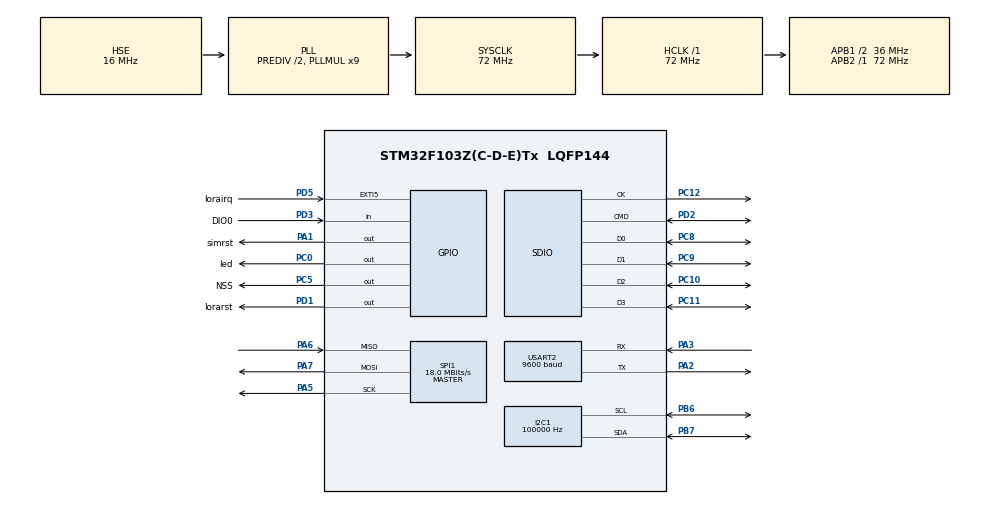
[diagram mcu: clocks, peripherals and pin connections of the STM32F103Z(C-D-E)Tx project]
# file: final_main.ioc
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Dma.Request0=USART2_RX
Dma.Request1=USART2_TX
Dma.Request2=SDIO
Dma.Request3=SPI1_RX
Dma.Request4=SPI1_TX
Dma.SDIO.2.Direction=DMA_PERIPH_TO_MEMORY
Dma.SDIO.2.Instance=DMA2_Channel4
Dma.SDIO.2.MemDataAlignment=DMA_MDATAALIGN_WORD
Dma.SDIO.2.MemInc=DMA_MINC_ENABLE
Dma.SDIO.2.Mode=DMA_NORMAL
Dma.SDIO.2.PeriphDataAlignment=DMA_PDATAALIGN_WORD
Dma.SDIO.2.PeriphInc=DMA_PINC_DISABLE
Dma.SDIO.2.Priority=DMA_PRIORITY_HIGH
Dma.SPI1_RX.3.Direction=DMA_PERIPH_TO_MEMORY
Dma.SPI1_RX.3.Instance=DMA1_Channel2
Dma.SPI1_RX.3.MemDataAlignment=DMA_MDATAALIGN_BYTE
Dma.SPI1_RX.3.MemInc=DMA_MINC_ENABLE
Dma.SPI1_RX.3.Mode=DMA_NORMAL
Dma.SPI1_RX.3.PeriphDataAlignment=DMA_PDATAALIGN_BYTE
Dma.SPI1_RX.3.PeriphInc=DMA_PINC_DISABLE
Dma.SPI1_RX.3.Priority=DMA_PRIORITY_VERY_HIGH
Dma.SPI1_TX.4.Direction=DMA_MEMORY_TO_PERIPH
Dma.SPI1_TX.4.Instance=DMA1_Channel3
Dma.SPI1_TX.4.MemDataAlignment=DMA_MDATAALIGN_BYTE
Dma.SPI1_TX.4.MemInc=DMA_MINC_ENABLE
Dma.SPI1_TX.4.Mode=DMA_NORMAL
Dma.SPI1_TX.4.PeriphDataAlignment=DMA_PDATAALIGN_BYTE
Dma.SPI1_TX.4.PeriphInc=DMA_PINC_DISABLE
Dma.SPI1_TX.4.Priority=DMA_PRIORITY_VERY_HIGH
Dma.USART2_RX.0.Direction=DMA_PERIPH_TO_MEMORY
Dma.USART2_RX.0.Instance=DMA1_Channel6
Dma.USART2_RX.0.MemDataAlignment=DMA_MDATAALIGN_BYTE
Dma.USART2_RX.0.MemInc=DMA_MINC_ENABLE
Dma.USART2_RX.0.Mode=DMA_NORMAL
Dma.USART2_RX.0.PeriphDataAlignment=DMA_PDATAALIGN_BYTE
Dma.USART2_RX.0.PeriphInc=DMA_PINC_DISABLE
Dma.USART2_RX.0.Priority=DMA_PRIORITY_VERY_HIGH
Dma.USART2_TX.1.Direction=DMA_MEMORY_TO_PERIPH
Dma.USART2_TX.1.Instance=DMA1_Channel7
Dma.USART2_TX.1.MemDataAlignment=DMA_MDATAALIGN_BYTE
Dma.USART2_TX.1.MemInc=DMA_MINC_ENABLE
Dma.USART2_TX.1.Mode=DMA_NORMAL
Dma.USART2_TX.1.PeriphDataAlignment=DMA_PDATAALIGN_BYTE
Dma.USART2_TX.1.PeriphInc=DMA_PINC_DISABLE
Dma.USART2_TX.1.Priority=DMA_PRIORITY_VERY_HIGH
FATFS._FS_TIMEOUT=100000
FATFS._MAX_SS=4096
I2C1.ClockSpeed=100000
IWDG.Prescaler=IWDG_PRESCALER_256
Mcu.Family=STM32F1
Mcu.Name=STM32F103Z(C-D-E)Tx
Mcu.Package=LQFP144
NVIC.DMA1_Channel2_IRQn=true\:0\:0\:false\:false\:true\:false\:true
NVIC.DMA1_Channel3_IRQn=true\:0\:0\:false\:false\:true\:false\:true
NVIC.DMA1_Channel6_IRQn=true\:0\:0\:false\:false\:true\:false\:true
NVIC.DMA1_Channel7_IRQn=true\:0\:0\:false\:false\:true\:false\:true
NVIC.DMA2_Channel4_5_IRQn=true\:0\:0\:false\:false\:true\:false\:true
NVIC.EXTI9_5_IRQn=true\:0\:0\:false\:false\:true\:true\:true
NVIC.PriorityGroup=NVIC_PRIORITYGROUP_4
NVIC.SDIO_IRQn=true\:0\:0\:false\:false\:true\:true\:true
NVIC.SPI1_IRQn=true\:0\:0\:false\:false\:true\:true\:true
NVIC.USART2_IRQn=true\:0\:0\:false\:false\:true\:true\:true
OSC_IN.Mode=HSE-External-Oscillator
OSC_IN.Signal=RCC_OSC_IN
OSC_OUT.Mode=HSE-External-Oscillator
OSC_OUT.Signal=RCC_OSC_OUT
PA1.GPIO_Label=simrst
PA1.GPIO_PuPd=GPIO_PULLDOWN
PA1.GPIO_Speed=GPIO_SPEED_FREQ_HIGH
PA1.Signal=GPIO_Output
PA13.Mode=JTAG_5_pins
PA13.Signal=SYS_JTMS-SWDIO
PA14.Mode=JTAG_5_pins
PA14.Signal=SYS_JTCK-SWCLK
PA15.Mode=JTAG_5_pins
PA15.Signal=SYS_JTDI
PA2.Mode=Asynchronous
PA2.Signal=USART2_TX
PA3.Mode=Asynchronous
PA3.Signal=USART2_RX
PA5.Mode=Full_Duplex_Master
PA5.Signal=SPI1_SCK
PA6.Mode=Full_Duplex_Master
PA6.Signal=SPI1_MISO
PA7.Mode=Full_Duplex_Master
PA7.Signal=SPI1_MOSI
PB3.Mode=JTAG_5_pins
PB3.Signal=SYS_JTDO-TRACESWO
PB4.Mode=JTAG_5_pins
PB4.Signal=SYS_NJTRST
PB6.Mode=I2C
PB6.Signal=I2C1_SCL
PB7.Mode=I2C
PB7.Signal=I2C1_SDA
PC0.GPIO_Label=led
PC0.GPIO_Speed=GPIO_SPEED_FREQ_HIGH
PC0.Signal=GPIO_Output
PC10.Mode=SD_4_bits_Wide_bus
PC10.Signal=SDIO_D2
PC11.Mode=SD_4_bits_Wide_bus
PC11.Signal=SDIO_D3
PC12.Mode=SD_4_bits_Wide_bus
PC12.Signal=SDIO_CK
PC14-OSC32_IN.Mode=LSE-External-Oscillator
PC14-OSC32_IN.Signal=RCC_OSC32_IN
PC15-OSC32_OUT.Mode=LSE-External-Oscillator
PC15-OSC32_OUT.Signal=RCC_OSC32_OUT
PC5.GPIO_Label=NSS
PC5.GPIO_PuPd=GPIO_PULLUP
PC5.GPIO_Speed=GPIO_SPEED_FREQ_HIGH
PC5.Signal=GPIO_Output
PC8.Mode=SD_4_bits_Wide_bus
PC8.Signal=SDIO_D0
PC9.Mode=SD_4_bits_Wide_bus
PC9.Signal=SDIO_D1
PD1.GPIO_Label=lorarst
PD1.GPIO_PuPd=GPIO_PULLDOWN
PD1.GPIO_Speed=GPIO_SPEED_FREQ_HIGH
PD1.Signal=GPIO_Output
PD2.Mode=SD_4_bits_Wide_bus
PD2.Signal=SDIO_CMD
PD3.GPIO_Label=DIO0
PD3.GPIO_PuPd=GPIO_PULLDOWN
PD3.Signal=GPIO_Input
PD5.GPIO_Label=lorairq
PD5.GPIO_PuPd=GPIO_PULLDOWN
PD5.Signal=GPXTI5
ProjectManager.HeapSize=0xFF0
ProjectManager.StackSize=0xFF0
ProjectManager.TargetToolchain=MDK-ARM V5.32
RCC.AHBFreq_Value=72000000
RCC.APB1CLKDivider=RCC_HCLK_DIV2
RCC.APB1Freq_Value=36000000
RCC.APB1TimFreq_Value=72000000
RCC.APB2Freq_Value=72000000
RCC.APB2TimFreq_Value=72000000
RCC.EnbaleCSS=true
RCC.HCLKFreq_Value=72000000
RCC.HSEDivPLL=RCC_HSE_PREDIV_DIV2
RCC.HSE_VALUE=16000000
RCC.PLLMUL=RCC_PLL_MUL9
RCC.PLLSourceVirtual=RCC_PLLSOURCE_HSE
RCC.RTCClockSelection=RCC_RTCCLKSOURCE_HSE_DIV128
RCC.SYSCLKFreq_VALUE=72000000
RCC.SYSCLKSource=RCC_SYSCLKSOURCE_PLLCLK
RCC.USBFreq_Value=72000000
RTC.Format=RTC_FORMAT_BIN
SDIO.ClockDiv=7
SPI1.BaudRatePrescaler=SPI_BAUDRATEPRESCALER_4
SPI1.CalculateBaudRate=18.0 MBits/s
SPI1.Direction=SPI_DIRECTION_2LINES
SPI1.Mode=SPI_MODE_MASTER
SPI1.VirtualType=VM_MASTER
USART2.BaudRate=9600
USART2.VirtualMode=VM_ASYNC
VP_FATFS_VS_SDIO.Mode=SDIO
VP_IWDG_VS_IWDG.Mode=IWDG_Activate
VP_RTC_VS_RTC_Activate.Mode=RTC_Enabled
VP_RTC_VS_RTC_Calendar.Mode=RTC_Calendar
board=custom

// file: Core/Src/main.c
/* USER CODE BEGIN Header */
/**
  ******************************************************************************
  * @file           : main.c
  * @brief          : Main program body
  ******************************************************************************
  * @attention
  *
  * <h2><center>&copy; Copyright (c) 2021 STMicroelectronics.
  * All rights reserved.</center></h2>
  *
  * This software component is licensed by ST under Ultimate Liberty license
  * SLA0044, the "License"; You may not use this file except in compliance with
  * the License. You may obtain a copy of the License at:
  *                             www.st.com/SLA0044
  *
  ******************************************************************************
  */
/* USER CODE END Header */
#include "main.h"
#include "fatfs.h"

/* USER CODE BEGIN Includes */
#include <String.h>
#include <Stdio.h>
#include <Stdbool.h>
#include <Stdlib.h>

#include "lcd.h"
#include "sim.h"
#include "LoRa.h"
#include "struct.h"
#include "List.h"
/* USER CODE END Includes */

/* USER CODE BEGIN PM */
FATFS fs;  // file system
FIL fil1; // File
FIL fil2; // File
FRESULT fresult;  // result
UINT br;

LoRa myLoRa;	//lora object

RTC_TimeTypeDef time;	//RTC
RTC_DateTypeDef date;

static dict_t **gDict;
/* USER CODE END PM */

I2C_HandleTypeDef hi2c1;

IWDG_HandleTypeDef hiwdg;

RTC_HandleTypeDef hrtc;

SD_HandleTypeDef hsd;
DMA_HandleTypeDef hdma_sdio;

SPI_HandleTypeDef hspi1;
DMA_HandleTypeDef hdma_spi1_rx;
DMA_HandleTypeDef hdma_spi1_tx;

UART_HandleTypeDef huart2;
DMA_HandleTypeDef hdma_usart2_rx;
DMA_HandleTypeDef hdma_usart2_tx;

/* USER CODE BEGIN PV */
uint8_t 				gRxBuf[RxBuf_SIZE];			//UART Handle
uint8_t 				gMainBuf[MainBuf_SIZE];
uint8_t 				gTxBuf[TxBuf_SIZE];
uint32_t 				gOldPos;
uint32_t 				gNewPos;

static bool 		gSimFlag	=	false;	//Sim Start Flags
static bool 		gLoraRecFlag	=	false;	//LoRa Recieved Flags

static uint8_t 	gSec;	//Real Time
static uint8_t 	gMinu;
static uint8_t 	gHour;
static uint8_t 	gDay;
static uint8_t 	gMon;
static uint8_t 	gYear;

static char 	gLoraReadStr[200];
/* USER CODE END PV */

void SystemClock_Config(void);
static void MX_GPIO_Init(void);
static void MX_DMA_Init(void);
static void MX_IWDG_Init(void);
static void MX_SPI1_Init(void);
static void MX_USART2_UART_Init(void);
static void MX_SDIO_SD_Init(void);
static void MX_RTC_Init(void);
static void MX_I2C1_Init(void);

/* USER CODE BEGIN 0 */
FRESULT mount_SD (void)
{
	return f_mount(&fs, "a", 1);
}

FRESULT unmount_SD (void)
{
	return f_mount(NULL, "a", 1);
}

FRESULT open_File(char* name,int i)
{
	if(i	==	1)
	{
		return f_open(&fil1,	name,	FA_WRITE	|	FA_READ	|	FA_OPEN_EXISTING);
	}
	else
	{
		return f_open(&fil2,	name,	FA_WRITE	|	FA_READ	|	FA_OPEN_EXISTING);
	}
}

FRESULT close_File(int i)
{
	if(i	==	1)
	{
		return f_close(&fil1);
	}
	else
	{
		return f_close(&fil2);
	}
}

FRESULT read_File(void* data,int j,int i)
{
	if(i	==	1)
	{
		return f_read(&fil1, data, j,&br);
	}
	else
	{
		return f_read(&fil2, data, j,&br);
	}
}

FRESULT create_File(char* name,int i)
{
	if(i==1)
	{
		return f_open(&fil1, name,	FA_CREATE_ALWAYS	|	FA_WRITE	|	FA_READ);
	}
	else
	{
		return f_open(&fil2, name,	FA_CREATE_ALWAYS	|	FA_WRITE	|	FA_READ);
	}
}

void gets_File(void* buff,int i)
{
	if(i	==	1)
	{
		f_gets((char*)buff,	100,	&fil1);
		return;
	}
	else
	{
		f_gets((char*)buff,	100,	&fil2);
		return;
	}
}

FRESULT write_File (void *data,int j,int i)
{
	if(i	==	1)
	{
		fresult = f_write(&fil1, data, j,	&br);
		if(fresult	==	FR_OK)
		{
			return f_sync(&fil1);
		}
	}
	else
	{
		fresult = f_write(&fil2, data, j,	&br);
		if(fresult	==	FR_OK)
		{
			return f_sync(&fil2);
		}
	}
	return FR_DISK_ERR;
}

FRESULT set_point_File(DWORD ofs,int i)
{
	if(i	==	1)
	{
		if((f_lseek(&fil1,ofs))	==	FR_OK)
		{
			return	f_sync(&fil1);
		}
	}
	else
	{
		if((f_lseek(&fil2,ofs))	==	FR_OK)
		{
			return	f_sync(&fil2);
		}
	}
	return FR_DISK_ERR;
}

int get_point_File(int i)
{
	if(i	==	1)
	{
		return (&fil1)->fptr;
	}
	else
	{
		return (&fil2)->fptr;
	}
}

FRESULT truncate_File(DWORD ofs,int i)
{
	if(i	==	1)
	{
		return 	f_truncate(&fil1);
	}
	else
	{
		return	f_truncate(&fil2);
	}
}
int get_eof_File(int i)
{
	if(i	==	1)
	{
		int js	=	0;
		while((f_eof(&fil1))	==	0)
		{
			set_point_File((++js),	1);
		}
		return js;
	}
	else
	{
		int js=0;
		while((f_eof(&fil2))	==	0)
		{
			set_point_File((++js),2);
		}
		return js;
	}
}

void ntptotime(uint32_t epoch)
{
	uint16_t	ntp_hour;
	uint16_t 	ntp_minute;
	uint16_t 	ntp_second;
	uint16_t 	ntp_date;
	uint16_t 	ntp_month;
	uint16_t 	ntp_year;

	unsigned char monthDays[12]={31,28,31,30,31,30,31,31,30,31,30,31};
	//Thu=4, Fri=5, Sat=6, Sun=0, Mon=1, Tue=2, Wed=3
	unsigned char	leap_days;
	unsigned short temp_days;
	unsigned int days_since_epoch, day_of_year;
   //---------------------------- Input and Calculations -------------------------------------
	leap_days	=	0;
	// Add or substract time zone here.
	epoch				+=	16200 ; //GMT +5:30 = +16,200 seconds
	epoch				-=	2208988800;
	ntp_second	 = 	epoch	%	60;
	epoch 			/= 	60;
	ntp_minute 	 = 	epoch	%	60;
	epoch 			/= 	60;
	ntp_hour 		 = 	epoch	%	24;
	epoch 			/= 	24;

	days_since_epoch = epoch;      //number of days since epoch

	ntp_year = 1970	+	(days_since_epoch	/	365); // ball parking year, may not be accurate!

	int i;
	for (i	=	1972; i	<	ntp_year; i	+=	4)      // Calculating number of leap days since epoch/1970
	{
		 if((((i%4)	==	0) && ((i%100)	!=	0)) || ((i%400)	==	0))
		 {
			 leap_days++;
		 }
	}

	ntp_year 		= 1970	+	((days_since_epoch - leap_days)	/	365); // Calculating accurate current year by (days_since_epoch - extra leap days)
	day_of_year = ((days_since_epoch - leap_days)	%	365)	+	1;

	if((((ntp_year%4)	==	0) && ((ntp_year%100)	!=	0)) || ((ntp_year%400)	==	0))
	{
		monthDays[1]	=	29;     //February = 29 days for leap years
	}
	else
	{
		monthDays[1]	=	28; 		//February = 28 days for non-leap years
	}

	temp_days	=	0;

	for (ntp_month=0 ; ntp_month <= 11 ; ntp_month++) //calculating current Month
	{
		 if (day_of_year <= temp_days)
		 {
			 break;
		 }

		 temp_days = temp_days + monthDays[ntp_month];
	}

	temp_days = temp_days - monthDays[ntp_month-1]; //calculating current Date
	ntp_date = day_of_year - temp_days;

	if(ntp_month	>=	9)
	{
		if(temp_days	>=	22)
		{
			ntp_hour--;
		}
	}
	else if(ntp_month	<=	3)
	{
		if(temp_days	<	22)
		{
			ntp_hour--;
		}
	}
	time.Seconds	=	ntp_second;
	time.Minutes	=	ntp_minute;
	time.Hours		=	ntp_hour;
	date.Month		=	ntp_month;
	date.Date			=	ntp_date;
	date.Year			=	ntp_year	-	2000;

	HAL_RTC_SetTime(&hrtc,	&time,	RTC_FORMAT_BIN);
	HAL_RTC_SetDate(&hrtc,	&date,	RTC_FORMAT_BIN);
	//uartflush();
}

void HAL_UARTEx_RxEventCallback(UART_HandleTypeDef *huart, uint16_t Size)
{
	if (huart->Instance == USART2)
	{
		gOldPos = gNewPos;  // Update the last position before copying new data

		/* If the data in large and it is about to exceed the buffer size, we have to route it to the start of the buffer
		 * This is to maintain the circular buffer
		 * The old data in the main buffer will be overlapped
		 */
		if (gOldPos+Size > MainBuf_SIZE)  // If the current position + new data size is greater than the main buffer
		{
			uint16_t datatocopy = MainBuf_SIZE	-	gOldPos;  // find out how much space is left in the main buffer
			memcpy ((uint8_t *)gMainBuf+gOldPos, gRxBuf, datatocopy);  // copy data in that remaining space

			gOldPos = 0;  // point to the start of the buffer
			memcpy ((uint8_t *)gMainBuf, (uint8_t *)gRxBuf+datatocopy, (Size-datatocopy));  // copy the remaining data
			gNewPos = (Size-datatocopy);  // update the position
		}

		/* if the current position + new data size is less than the main buffer
		 * we will simply copy the data into the buffer and update the position
		 */
		else
		{
			memcpy (((uint8_t *)gMainBuf+gOldPos), gRxBuf, Size);
			gNewPos = Size	+	gOldPos;
		}

		/* start the DMA again */
		HAL_UARTEx_ReceiveToIdle_DMA(&huart2, (uint8_t *) gRxBuf,	RxBuf_SIZE);
		__HAL_DMA_DISABLE_IT(&hdma_usart2_rx, DMA_IT_HT);
	}
}
int ind(char* a1,	char* a2)
{
	char *found;

	found	=	strstr(a1,	a2);

	if(found)
	{
		return (int)(found-a1);
	}
	else
	{
		return -1;
	}
 }
void LoraInit()
{
	myLoRa = newLoRa();

	myLoRa.hSPIx                 = &hspi1;
	myLoRa.CS_port               = NSS_GPIO_Port;
	myLoRa.CS_pin                = NSS_Pin;
	myLoRa.reset_port            = lorarst_GPIO_Port;
	myLoRa.reset_pin             = lorarst_Pin;
	myLoRa.DIO0_port						 = DIO0_GPIO_Port;
	myLoRa.DIO0_pin							 = DIO0_Pin;

	myLoRa.frequency             = 433;							  // default = 433 MHz
	myLoRa.spredingFactor        = SF_7;							// default = SF_7
	myLoRa.bandWidth			       = BW_125KHz;				  // default = BW_125KHz
	myLoRa.crcRate				       = CR_4_5;						// default = CR_4_5
	myLoRa.power					       = POWER_20db;				// default = 20db
	myLoRa.overCurrentProtection = 100; 							// default = 100 mA
	myLoRa.preamble				       = 8;		  					// default = 8;

	while(1)
	{
		LoRa_reset(&myLoRa);
		int test	=	LoRa_init(&myLoRa);
		if(test	==	200)
		{
			uart_sendstring_pc("LORA OK\r\n");
			HAL_IWDG_Refresh(&hiwdg);
			break;
		}
		if(test	==	404)
		{
			uart_sendstring_pc("LORA NOT FOUND\r\n");
			HAL_IWDG_Refresh(&hiwdg);
			HAL_Delay(500);
		}
		if(test	==	503)
		{
			uart_sendstring_pc("LORA UNAVAILABLE\r\n");
			HAL_IWDG_Refresh(&hiwdg);
			HAL_Delay(500);
		}
	}
	LoRa_startReceiving(&myLoRa);
}
bool NTPInit(void)
{
	uint8_t Tried	=	0;
	Tried++;

	for(int i = Tried ; i<6 ; i++)
	{
		uartflush();

		if(i	==	0)
		{
			if((srevercon_udp("0.ir.pool.ntp.org","123"))	==	1)
			{
				break;
			}
		}
		if(i	==	3)
		{
			if((srevercon_udp("0.de.pool.ntp.org","123"))	==	1)
			{
				break;
			}
		}
		if(i	==	1)
		{
			if((srevercon_udp("1.ir.pool.ntp.org","123"))	==	1)
			{
				break;
			}
		}
		if(i	==	4)
		{
			if((srevercon_udp("1.de.pool.ntp.org","123"))	==	1)
			{
				break;
			}
		}
		if(i	==	2)
		{
			if((srevercon_udp("2.ir.pool.ntp.org","123"))	==	1)
			{
				break;
			}
		}
		if(i	==	5)
		{
			if((srevercon_udp("2.de.pool.ntp.org","123"))	==	1)
			{
				break;
			}
		}
	}

	uartflush();

	for(int i	=	0;	i	<	10;	i++)
	{
		uint8_t ntpreq[49];

		ntpreq[0]		=	0x4B;
		ntpreq[48]	=	0;

		for(int i	=	1;	i	<	48;	i++)
		{
			ntpreq[i]	=	0x01;
		}
		int	y	=	simsend(ntpreq,	48);
		if(y	==	1)
		{
			break;
		}
	}

	uint64_t timerReg;

	timerReg = HAL_GetTick();

	while((waitfor("SEND OK\r\n"))	!=	1)
	{
		if((HAL_GetTick()	-	timerReg)	>	5000)
		{
			uartflush();
			return false;
		}
	}
	uartflush();
	HAL_Delay(1000);
	timerReg = HAL_GetTick();
	while(1)
	{
		if((HAL_GetTick()	-	timerReg)	>	3000)
		{
			uartflush();
			return false;
		}
		if(gMainBuf[47]	!=	0)
		{
			uint8_t 	ntpreply[4];
			uint32_t 	epo; //RTC & NTP

			for(int i=0;	i<4;	i++)
			{
				ntpreply[i]	=	gMainBuf[i+40];
			}

			struct_unpack((char*)ntpreply,	"!i",	&epo);

			ntptotime(epo);

			HAL_RTC_GetTime(&hrtc,	&time,	RTC_FORMAT_BIN);
			HAL_RTC_GetDate(&hrtc,	&date,	RTC_FORMAT_BIN);

			gSec		=	time.Seconds;
			gMinu		=	time.Minutes;
			gHour		=	time.Hours;
			gDay		=	date.Date;
			gMon		=	date.Month;
			gYear		=	date.Year;

			break;
		}
	}
	if((gYear	==	21)	||	(gYear	==	22)	||	(gYear	==	23)	||	(gYear	==	24))
	{
		return true;
	}
	return false;
}
void HAL_GPIO_EXTI_Callback(uint16_t GPIO_Pin)
{
	if(GPIO_Pin	==	lorairq_Pin)
	{
		gLoraRecFlag	=	true;
	}
}
void MainInit(void)
{
	HAL_IWDG_Refresh(&hiwdg);

	lcd_init();
	HAL_Delay(100);
	lcd_init();
	HAL_Delay(100);
	lcd_clear();
	HAL_Delay(100);
	lcd_send_string("    Main APP    ");
	HAL_Delay(1000);

	uart_sendstring_pc("MAIN PROG\n");

	HAL_IWDG_Refresh(&hiwdg);

	if(mount_SD()!=	FR_OK)
	{
		lcd_send_string("No SD Card Found");
		HAL_Delay(2000);
		lcd_clear();
	}

	lcd_send_string("SD Card Found");
	HAL_Delay(2000);
	lcd_clear();

	while((open_File("slaveid.txt",	1))	!=	FR_OK)
	{
		lcd_put_cur(0, 0);
		lcd_send_string(" slaveid.txt NF ");
		HAL_Delay(100);
	}

	lcd_put_cur(0, 0);
	lcd_send_string("slaveid.tx Found");
	HAL_Delay(1000);

	char conString[100];
	char slaveId	[3];

	lcd_put_cur(0, 0);
	lcd_send_string("Slave Id Reading");
	HAL_Delay(1000);

	while(1)
	{
		gets_File(conString,	1);

		if((strlen(conString))	==	0)
		{
			break;
		}
		slaveId[0]	=	conString[0];
		slaveId[1]	=	conString[1];
		slaveId[2]	=	conString[2];
		dictAddItem(gDict,	slaveId,	1);
	}

	close_File(1);

	lcd_put_cur(0, 0);
	lcd_send_string("  Reading Done  ");
	HAL_Delay(1000);

	lcd_clear();
	HAL_Delay(100);

	lcd_put_cur(0, 0);
	lcd_send_string("  Sim Starting  ");

	HAL_UARTEx_ReceiveToIdle_DMA(&huart2, (uint8_t *) gRxBuf, RxBuf_SIZE);
	__HAL_DMA_DISABLE_IT(&hdma_usart2_rx, DMA_IT_HT);

	for(int i	=	0;	i	<	1;	i++)
	{
		if((simstart())	==	1)
		{
			gSimFlag	=	true;
			break;
		}
		HAL_Delay(1500);
		lcd_put_cur(1, 0);
		lcd_send_string("     Again      ");
		HAL_Delay(1000);
	}

	if(gSimFlag	==	true)
	{
		lcd_put_cur(1, 0);
		lcd_send_string("  Sim Started!  ");
		HAL_Delay(1500);

		lcd_clear();
		lcd_put_cur(0, 0);
		lcd_send_string(" NTP RT Request ");

		int Try	=	2,	Tried	=	0;

		while((NTPInit())	!=	true)
		{
			if((Tried++)	>=	Try)
			{
				break;
			}

		lcd_put_cur(1, 0);
		lcd_send_string("     Again      ");
		HAL_Delay(1000);
		}
	}

	uartflush();

	LoraInit();

	LoRa_startReceiving(&myLoRa);

	HAL_RTC_GetTime(&hrtc,	&time,	RTC_FORMAT_BIN);
	HAL_RTC_GetDate(&hrtc,	&date,	RTC_FORMAT_BIN);

	gSec		=	time.Seconds;
	gMinu		=	time.Minutes;
	gHour		=	time.Hours;
	gDay		=	date.Date;
	gMon		=	date.Month;
	gYear		=	date.Year;

	char lcdtemp[16];
	sprintf(lcdtemp,	"20%02d - %02d - %02d  ",	gYear,	gMon,	gDay);
	lcd_put_cur(0, 0);
	lcd_send_string(lcdtemp);
	sprintf(lcdtemp,	"  %02d : %02d : %02d  ",	gHour,	gMinu,	gSec);
	lcd_put_cur(1, 0);
	lcd_send_string(lcdtemp);
	HAL_Delay(1500);
	lcd_clear();
	HAL_Delay(200);
}
/* USER CODE END 0 */

int main(void)
{

  /* MCU Configuration--------------------------------------------------------*/

  /* Reset of all peripherals, Initializes the Flash interface and the Systick. */
  HAL_Init();

  /* Configure the system clock */
  SystemClock_Config();

  /* Initialize all configured peripherals */
  MX_GPIO_Init();
  MX_DMA_Init();
  MX_IWDG_Init();
  MX_SPI1_Init();
  MX_USART2_UART_Init();
  MX_SDIO_SD_Init();
  MX_FATFS_Init();
  MX_RTC_Init();
  MX_I2C1_Init();
  /* USER CODE BEGIN 2 */
	gDict = dictAlloc();

	MainInit();
  /* USER CODE END 2 */

  /* Infinite loop */
  /* USER CODE BEGIN WHILE */
  while (1)
  {
		if(gLoraRecFlag	==	true)
		{
			LoRa_receive(&myLoRa,	(uint8_t*)gLoraReadStr,	200);

			gLoraRecFlag	=	false;

			char	loraRecTempSt[4];

			loraRecTempSt[0]	=	gLoraReadStr[0];
			loraRecTempSt[1]	=	gLoraReadStr[1];
			loraRecTempSt[2]	=	gLoraReadStr[2];
			loraRecTempSt[3]	=	0;

			char lcdtemp[16];
			sprintf(lcdtemp,	"    LoRa:%c%c%c    ",	loraRecTempSt[0],	loraRecTempSt[1],	loraRecTempSt[2]);
			lcd_clear();
			HAL_Delay(50);
			lcd_put_cur(0,0);
			lcd_send_string(lcdtemp);

			if((dictGetItem(*gDict, loraRecTempSt))	==	1)
			{
				lcd_put_cur(1,0);
				lcd_send_string(" Valid Slave Id ");
				HAL_GPIO_TogglePin(led_GPIO_Port,led_Pin);
				LoRa_transmit(&myLoRa,"Ok\n",3,100);
			}
			else
			{
				lcd_put_cur(1,0);
				lcd_send_string("Invalid Slave Id");
				LoRa_transmit(&myLoRa,loraRecTempSt,3,100);
			}
		}
		HAL_IWDG_Refresh(&hiwdg);
    /* USER CODE END WHILE */

  }
}

void SystemClock_Config(void)
{
  RCC_OscInitTypeDef RCC_OscInitStruct = {0};
  RCC_ClkInitTypeDef RCC_ClkInitStruct = {0};
  RCC_PeriphCLKInitTypeDef PeriphClkInit = {0};

  /** Initializes the RCC Oscillators according to the specified parameters
  * in the RCC_OscInitTypeDef structure.
  */
  RCC_OscInitStruct.OscillatorType = RCC_OSCILLATORTYPE_LSI|RCC_OSCILLATORTYPE_HSE;
  RCC_OscInitStruct.HSEState = RCC_HSE_ON;
  RCC_OscInitStruct.HSEPredivValue = RCC_HSE_PREDIV_DIV2;
  RCC_OscInitStruct.HSIState = RCC_HSI_ON;
  RCC_OscInitStruct.LSIState = RCC_LSI_ON;
  RCC_OscInitStruct.PLL.PLLState = RCC_PLL_ON;
  RCC_OscInitStruct.PLL.PLLSource = RCC_PLLSOURCE_HSE;
  RCC_OscInitStruct.PLL.PLLMUL = RCC_PLL_MUL9;
  if (HAL_RCC_OscConfig(&RCC_OscInitStruct) != HAL_OK)
  {
    Error_Handler();
  }
  /** Initializes the CPU, AHB and APB buses clocks
  */
  RCC_ClkInitStruct.ClockType = RCC_CLOCKTYPE_HCLK|RCC_CLOCKTYPE_SYSCLK
                              |RCC_CLOCKTYPE_PCLK1|RCC_CLOCKTYPE_PCLK2;
  RCC_ClkInitStruct.SYSCLKSource = RCC_SYSCLKSOURCE_PLLCLK;
  RCC_ClkInitStruct.AHBCLKDivider = RCC_SYSCLK_DIV1;
  RCC_ClkInitStruct.APB1CLKDivider = RCC_HCLK_DIV2;
  RCC_ClkInitStruct.APB2CLKDivider = RCC_HCLK_DIV1;

  if (HAL_RCC_ClockConfig(&RCC_ClkInitStruct, FLASH_LATENCY_2) != HAL_OK)
  {
    Error_Handler();
  }
  PeriphClkInit.PeriphClockSelection = RCC_PERIPHCLK_RTC;
  PeriphClkInit.RTCClockSelection = RCC_RTCCLKSOURCE_HSE_DIV128;
  if (HAL_RCCEx_PeriphCLKConfig(&PeriphClkInit) != HAL_OK)
  {
    Error_Handler();
  }
  /** Enables the Clock Security System
  */
  HAL_RCC_EnableCSS();
}

static void MX_I2C1_Init(void)
{

  hi2c1.Instance = I2C1;
  hi2c1.Init.ClockSpeed = 100000;
  hi2c1.Init.DutyCycle = I2C_DUTYCYCLE_2;
  hi2c1.Init.OwnAddress1 = 0;
  hi2c1.Init.AddressingMode = I2C_ADDRESSINGMODE_7BIT;
  hi2c1.Init.DualAddressMode = I2C_DUALADDRESS_DISABLE;
  hi2c1.Init.OwnAddress2 = 0;
  hi2c1.Init.GeneralCallMode = I2C_GENERALCALL_DISABLE;
  hi2c1.Init.NoStretchMode = I2C_NOSTRETCH_DISABLE;
  if (HAL_I2C_Init(&hi2c1) != HAL_OK)
  {
    Error_Handler();
  }

}

static void MX_IWDG_Init(void)
{

  hiwdg.Instance = IWDG;
  hiwdg.Init.Prescaler = IWDG_PRESCALER_256;
  hiwdg.Init.Reload = 4095;
  if (HAL_IWDG_Init(&hiwdg) != HAL_OK)
  {
    Error_Handler();
  }

}

static void MX_RTC_Init(void)
{

  RTC_TimeTypeDef sTime = {0};
  RTC_DateTypeDef DateToUpdate = {0};

  /** Initialize RTC Only
  */
  hrtc.Instance = RTC;
  hrtc.Init.AsynchPrediv = RTC_AUTO_1_SECOND;
  hrtc.Init.OutPut = RTC_OUTPUTSOURCE_ALARM;
  if (HAL_RTC_Init(&hrtc) != HAL_OK)
  {
    Error_Handler();
  }

  /** Initialize RTC and set the Time and Date
  */
  sTime.Hours = 0;
  sTime.Minutes = 0;
  sTime.Seconds = 0;

  if (HAL_RTC_SetTime(&hrtc, &sTime, RTC_FORMAT_BIN) != HAL_OK)
  {
    Error_Handler();
  }
  DateToUpdate.WeekDay = RTC_WEEKDAY_MONDAY;
  DateToUpdate.Month = RTC_MONTH_JANUARY;
  DateToUpdate.Date = 1;
  DateToUpdate.Year = 0;

  if (HAL_RTC_SetDate(&hrtc, &DateToUpdate, RTC_FORMAT_BIN) != HAL_OK)
  {
    Error_Handler();
  }

}

static void MX_SDIO_SD_Init(void)
{

  hsd.Instance = SDIO;
  hsd.Init.ClockEdge = SDIO_CLOCK_EDGE_RISING;
  hsd.Init.ClockBypass = SDIO_CLOCK_BYPASS_DISABLE;
  hsd.Init.ClockPowerSave = SDIO_CLOCK_POWER_SAVE_DISABLE;
  hsd.Init.BusWide = SDIO_BUS_WIDE_1B;
  hsd.Init.HardwareFlowControl = SDIO_HARDWARE_FLOW_CONTROL_DISABLE;
  hsd.Init.ClockDiv = 7;

}

static void MX_SPI1_Init(void)
{

  /* SPI1 parameter configuration*/
  hspi1.Instance = SPI1;
  hspi1.Init.Mode = SPI_MODE_MASTER;
  hspi1.Init.Direction = SPI_DIRECTION_2LINES;
  hspi1.Init.DataSize = SPI_DATASIZE_8BIT;
  hspi1.Init.CLKPolarity = SPI_POLARITY_LOW;
  hspi1.Init.CLKPhase = SPI_PHASE_1EDGE;
  hspi1.Init.NSS = SPI_NSS_SOFT;
  hspi1.Init.BaudRatePrescaler = SPI_BAUDRATEPRESCALER_4;
  hspi1.Init.FirstBit = SPI_FIRSTBIT_MSB;
  hspi1.Init.TIMode = SPI_TIMODE_DISABLE;
  hspi1.Init.CRCCalculation = SPI_CRCCALCULATION_DISABLE;
  hspi1.Init.CRCPolynomial = 10;
  if (HAL_SPI_Init(&hspi1) != HAL_OK)
  {
    Error_Handler();
  }

}

static void MX_USART2_UART_Init(void)
{

  huart2.Instance = USART2;
  huart2.Init.BaudRate = 9600;
  huart2.Init.WordLength = UART_WORDLENGTH_8B;
  huart2.Init.StopBits = UART_STOPBITS_1;
  huart2.Init.Parity = UART_PARITY_NONE;
  huart2.Init.Mode = UART_MODE_TX_RX;
  huart2.Init.HwFlowCtl = UART_HWCONTROL_NONE;
  huart2.Init.OverSampling = UART_OVERSAMPLING_16;
  if (HAL_UART_Init(&huart2) != HAL_OK)
  {
    Error_Handler();
  }

}

static void MX_DMA_Init(void)
{

  /* DMA controller clock enable */
  __HAL_RCC_DMA1_CLK_ENABLE();
  __HAL_RCC_DMA2_CLK_ENABLE();

  /* DMA interrupt init */
  /* DMA1_Channel2_IRQn interrupt configuration */
  HAL_NVIC_SetPriority(DMA1_Channel2_IRQn, 0, 0);
  HAL_NVIC_EnableIRQ(DMA1_Channel2_IRQn);
  /* DMA1_Channel3_IRQn interrupt configuration */
  HAL_NVIC_SetPriority(DMA1_Channel3_IRQn, 0, 0);
  HAL_NVIC_EnableIRQ(DMA1_Channel3_IRQn);
  /* DMA1_Channel6_IRQn interrupt configuration */
  HAL_NVIC_SetPriority(DMA1_Channel6_IRQn, 0, 0);
  HAL_NVIC_EnableIRQ(DMA1_Channel6_IRQn);
  /* DMA1_Channel7_IRQn interrupt configuration */
  HAL_NVIC_SetPriority(DMA1_Channel7_IRQn, 0, 0);
  HAL_NVIC_EnableIRQ(DMA1_Channel7_IRQn);
  /* DMA2_Channel4_5_IRQn interrupt configuration */
  HAL_NVIC_SetPriority(DMA2_Channel4_5_IRQn, 0, 0);
  HAL_NVIC_EnableIRQ(DMA2_Channel4_5_IRQn);

}

static void MX_GPIO_Init(void)
{
  GPIO_InitTypeDef GPIO_InitStruct = {0};

  /* GPIO Ports Clock Enable */
  __HAL_RCC_GPIOE_CLK_ENABLE();
  __HAL_RCC_GPIOC_CLK_ENABLE();
  __HAL_RCC_GPIOF_CLK_ENABLE();
  __HAL_RCC_GPIOA_CLK_ENABLE();
  __HAL_RCC_GPIOB_CLK_ENABLE();
  __HAL_RCC_GPIOG_CLK_ENABLE();
  __HAL_RCC_GPIOD_CLK_ENABLE();

  /*Configure GPIO pin Output Level */
  HAL_GPIO_WritePin(GPIOC, led_Pin|NSS_Pin, GPIO_PIN_RESET);

  /*Configure GPIO pin Output Level */
  HAL_GPIO_WritePin(simrst_GPIO_Port, simrst_Pin, GPIO_PIN_RESET);

  /*Configure GPIO pin Output Level */
  HAL_GPIO_WritePin(lorarst_GPIO_Port, lorarst_Pin, GPIO_PIN_RESET);

  /*Configure GPIO pins : PE2 PE3 PE4 PE5
                           PE6 PE7 PE8 PE9
                           PE10 PE11 PE12 PE13
                           PE14 PE15 PE0 PE1 */
  GPIO_InitStruct.Pin = GPIO_PIN_2|GPIO_PIN_3|GPIO_PIN_4|GPIO_PIN_5
                          |GPIO_PIN_6|GPIO_PIN_7|GPIO_PIN_8|GPIO_PIN_9
                          |GPIO_PIN_10|GPIO_PIN_11|GPIO_PIN_12|GPIO_PIN_13
                          |GPIO_PIN_14|GPIO_PIN_15|GPIO_PIN_0|GPIO_PIN_1;
  GPIO_InitStruct.Mode = GPIO_MODE_ANALOG;
  HAL_GPIO_Init(GPIOE, &GPIO_InitStruct);

  /*Configure GPIO pins : PC13 PC1 PC2 PC3
                           PC4 PC6 PC7 */
  GPIO_InitStruct.Pin = GPIO_PIN_13|GPIO_PIN_1|GPIO_PIN_2|GPIO_PIN_3
                          |GPIO_PIN_4|GPIO_PIN_6|GPIO_PIN_7;
  GPIO_InitStruct.Mode = GPIO_MODE_ANALOG;
  HAL_GPIO_Init(GPIOC, &GPIO_InitStruct);

  /*Configure GPIO pins : PF0 PF1 PF2 PF3
                           PF4 PF5 PF6 PF7
                           PF8 PF9 PF10 PF11
                           PF12 PF13 PF14 PF15 */
  GPIO_InitStruct.Pin = GPIO_PIN_0|GPIO_PIN_1|GPIO_PIN_2|GPIO_PIN_3
                          |GPIO_PIN_4|GPIO_PIN_5|GPIO_PIN_6|GPIO_PIN_7
                          |GPIO_PIN_8|GPIO_PIN_9|GPIO_PIN_10|GPIO_PIN_11
                          |GPIO_PIN_12|GPIO_PIN_13|GPIO_PIN_14|GPIO_PIN_15;
  GPIO_InitStruct.Mode = GPIO_MODE_ANALOG;
  HAL_GPIO_Init(GPIOF, &GPIO_InitStruct);

  /*Configure GPIO pin : led_Pin */
  GPIO_InitStruct.Pin = led_Pin;
  GPIO_InitStruct.Mode = GPIO_MODE_OUTPUT_PP;
  GPIO_InitStruct.Pull = GPIO_NOPULL;
  GPIO_InitStruct.Speed = GPIO_SPEED_FREQ_HIGH;
  HAL_GPIO_Init(led_GPIO_Port, &GPIO_InitStruct);

  /*Configure GPIO pins : PA0 PA4 PA8 PA9
                           PA10 PA11 PA12 */
  GPIO_InitStruct.Pin = GPIO_PIN_0|GPIO_PIN_4|GPIO_PIN_8|GPIO_PIN_9
                          |GPIO_PIN_10|GPIO_PIN_11|GPIO_PIN_12;
  GPIO_InitStruct.Mode = GPIO_MODE_ANALOG;
  HAL_GPIO_Init(GPIOA, &GPIO_InitStruct);

  /*Configure GPIO pin : simrst_Pin */
  GPIO_InitStruct.Pin = simrst_Pin;
  GPIO_InitStruct.Mode = GPIO_MODE_OUTPUT_PP;
  GPIO_InitStruct.Pull = GPIO_PULLDOWN;
  GPIO_InitStruct.Speed = GPIO_SPEED_FREQ_HIGH;
  HAL_GPIO_Init(simrst_GPIO_Port, &GPIO_InitStruct);

  /*Configure GPIO pin : NSS_Pin */
  GPIO_InitStruct.Pin = NSS_Pin;
  GPIO_InitStruct.Mode = GPIO_MODE_OUTPUT_PP;
  GPIO_InitStruct.Pull = GPIO_PULLUP;
  GPIO_InitStruct.Speed = GPIO_SPEED_FREQ_HIGH;
  HAL_GPIO_Init(NSS_GPIO_Port, &GPIO_InitStruct);

  /*Configure GPIO pins : PB0 PB1 PB2 PB10
                           PB11 PB12 PB13 PB14
                           PB15 PB5 PB8 PB9 */
  GPIO_InitStruct.Pin = GPIO_PIN_0|GPIO_PIN_1|GPIO_PIN_2|GPIO_PIN_10
                          |GPIO_PIN_11|GPIO_PIN_12|GPIO_PIN_13|GPIO_PIN_14
                          |GPIO_PIN_15|GPIO_PIN_5|GPIO_PIN_8|GPIO_PIN_9;
  GPIO_InitStruct.Mode = GPIO_MODE_ANALOG;
  HAL_GPIO_Init(GPIOB, &GPIO_InitStruct);

  /*Configure GPIO pins : PG0 PG1 PG2 PG3
                           PG4 PG5 PG6 PG7
                           PG8 PG9 PG10 PG11
                           PG12 PG13 PG14 PG15 */
  GPIO_InitStruct.Pin = GPIO_PIN_0|GPIO_PIN_1|GPIO_PIN_2|GPIO_PIN_3
                          |GPIO_PIN_4|GPIO_PIN_5|GPIO_PIN_6|GPIO_PIN_7
                          |GPIO_PIN_8|GPIO_PIN_9|GPIO_PIN_10|GPIO_PIN_11
                          |GPIO_PIN_12|GPIO_PIN_13|GPIO_PIN_14|GPIO_PIN_15;
  GPIO_InitStruct.Mode = GPIO_MODE_ANALOG;
  HAL_GPIO_Init(GPIOG, &GPIO_InitStruct);

  /*Configure GPIO pins : PD8 PD9 PD10 PD11
                           PD12 PD13 PD14 PD15
                           PD0 PD4 PD6 PD7 */
  GPIO_InitStruct.Pin = GPIO_PIN_8|GPIO_PIN_9|GPIO_PIN_10|GPIO_PIN_11
                          |GPIO_PIN_12|GPIO_PIN_13|GPIO_PIN_14|GPIO_PIN_15
                          |GPIO_PIN_0|GPIO_PIN_4|GPIO_PIN_6|GPIO_PIN_7;
  GPIO_InitStruct.Mode = GPIO_MODE_ANALOG;
  HAL_GPIO_Init(GPIOD, &GPIO_InitStruct);

  /*Configure GPIO pin : lorarst_Pin */
  GPIO_InitStruct.Pin = lorarst_Pin;
  GPIO_InitStruct.Mode = GPIO_MODE_OUTPUT_PP;
  GPIO_InitStruct.Pull = GPIO_PULLDOWN;
  GPIO_InitStruct.Speed = GPIO_SPEED_FREQ_HIGH;
  HAL_GPIO_Init(lorarst_GPIO_Port, &GPIO_InitStruct);

  /*Configure GPIO pin : DIO0_Pin */
  GPIO_InitStruct.Pin = DIO0_Pin;
  GPIO_InitStruct.Mode = GPIO_MODE_INPUT;
  GPIO_InitStruct.Pull = GPIO_PULLDOWN;
  HAL_GPIO_Init(DIO0_GPIO_Port, &GPIO_InitStruct);

  /*Configure GPIO pin : lorairq_Pin */
  GPIO_InitStruct.Pin = lorairq_Pin;
  GPIO_InitStruct.Mode = GPIO_MODE_IT_RISING;
  GPIO_InitStruct.Pull = GPIO_PULLDOWN;
  HAL_GPIO_Init(lorairq_GPIO_Port, &GPIO_InitStruct);

  /* EXTI interrupt init*/
  HAL_NVIC_SetPriority(EXTI9_5_IRQn, 0, 0);
  HAL_NVIC_EnableIRQ(EXTI9_5_IRQn);

}

void Error_Handler(void)
{
  __disable_irq();
  while (1)
  {
  }
}

/************************ (C) COPYRIGHT STMicroelectronics *****END OF FILE****/
